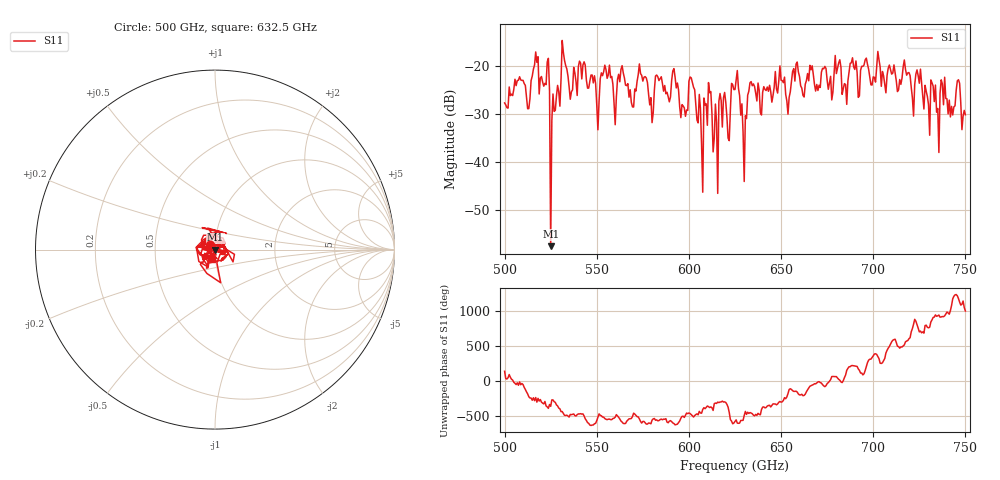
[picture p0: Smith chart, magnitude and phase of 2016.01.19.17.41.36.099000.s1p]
!Created with skrf (http://scikit-rf.org).
# GHz S RI R 50.0
!freq ReS11 ImS11
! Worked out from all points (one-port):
!   401 points, 500 GHz to 750 GHz, reference 50 ohm
!   lowest |S11| = -57.7 dB at 525 GHz (marker M1), VSWR 1.00, Z = 50.1 - j0.0124 ohm
!   |S11| at or under -10 dB: start of sweep to end of sweep
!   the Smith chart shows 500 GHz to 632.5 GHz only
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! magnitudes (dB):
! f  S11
! 500 GHz  -27.7
! 513.1 GHz  -28.8
! 516.9 GHz  -17.0
! 523.1 GHz  -19.1
! 525 GHz  -57.7
! 526.2 GHz  -25.8
! 531.2 GHz  -14.6
! 550.6 GHz  -33.3
! 562.5 GHz  -23.2
! 568.8 GHz  -27.5
! 574.4 GHz  -21.9
! 579.4 GHz  -26.6
! 583.1 GHz  -22.2
! 593.8 GHz  -23.5
! 598.1 GHz  -30.5
! 601.9 GHz  -23.4
! 606.2 GHz  -28.8
! 610.6 GHz  -23.4
! 614.4 GHz  -27.9
! 625 GHz  -24.8
! 630 GHz  -44.1
! 633.8 GHz  -23.2
! 656.2 GHz  -21.1
! 680.6 GHz  -20.4
! 684.4 GHz  -23.6
! 687.5 GHz  -19.4
! 718.8 GHz  -21.4
! 750 GHz  -30.1
